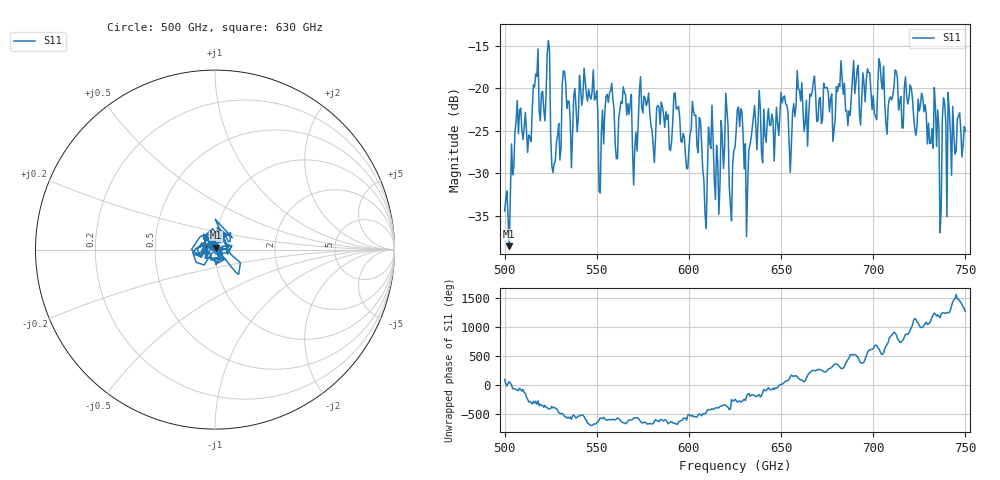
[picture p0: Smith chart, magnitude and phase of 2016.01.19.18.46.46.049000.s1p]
!Created with skrf (http://scikit-rf.org).
# GHz S RI R 50.0
!freq ReS11 ImS11
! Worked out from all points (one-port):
!   401 points, 500 GHz to 750 GHz, reference 50 ohm
!   lowest |S11| = -38.5 dB at 502.5 GHz (marker M1), VSWR 1.02, Z = 50.6 + j1.04 ohm
!   |S11| at or under -10 dB: start of sweep to end of sweep
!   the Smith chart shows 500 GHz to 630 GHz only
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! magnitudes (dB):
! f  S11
! 500 GHz  -34.4
! 502.5 GHz  -38.5
! 506.9 GHz  -21.5
! 513.1 GHz  -25.5
! 516.9 GHz  -18.3
! 523.8 GHz  -14.4
! 526.9 GHz  -28.9
! 531.2 GHz  -19.6
! 548.8 GHz  -21.4
! 552.5 GHz  -25.1
! 556.9 GHz  -20.6
! 562.5 GHz  -22.5
! 593.8 GHz  -22.4
! 598.8 GHz  -29.5
! 603.1 GHz  -23.2
! 608.8 GHz  -34.8
! 611.9 GHz  -27.1
! 615.6 GHz  -28.5
! 625 GHz  -26.9
! 631.2 GHz  -37.4
! 636.9 GHz  -27.2
! 656.2 GHz  -22.9
! 660 GHz  -20.3
! 687.5 GHz  -23.2
! 718.8 GHz  -21.9
! 734.4 GHz  -26.8
! 735.6 GHz  -24.6
! 750 GHz  -25.0
